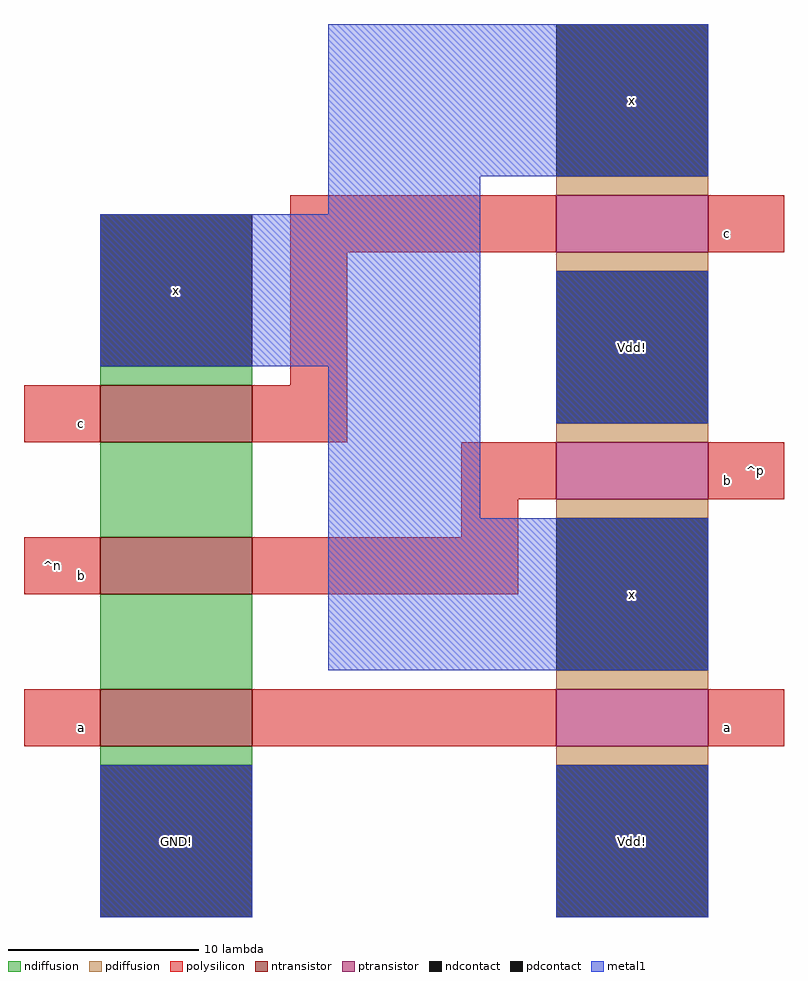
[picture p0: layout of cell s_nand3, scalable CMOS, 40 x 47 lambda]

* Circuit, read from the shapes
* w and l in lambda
.subckt s_nand3 GND! Vdd! a b c x
M1 n1 a GND! VSUBS nfet w=8 l=3
M2 n2 b n1 VSUBS nfet w=8 l=3
M3 x c n2 VSUBS nfet w=8 l=3
M4 x a Vdd! NWELL pfet w=8 l=3
M5 Vdd! b x NWELL pfet w=8 l=3
M6 x c Vdd! NWELL pfet w=8 l=3
.ends

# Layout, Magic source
magic
tech scmos
<< ndiffusion >>
rect -76 505 -68 506
rect -76 497 -68 502
rect -76 489 -68 494
rect -76 485 -68 486
<< pdiffusion >>
rect -52 515 -44 516
rect -52 511 -44 512
rect -52 502 -44 503
rect -52 498 -44 499
rect -52 489 -44 490
rect -52 485 -44 486
<< ntransistor >>
rect -76 502 -68 505
rect -76 494 -68 497
rect -76 486 -68 489
<< ptransistor >>
rect -52 512 -44 515
rect -52 499 -44 502
rect -52 486 -44 489
<< polysilicon >>
rect -66 512 -52 515
rect -44 512 -40 515
rect -66 505 -63 512
rect -80 502 -76 505
rect -68 502 -63 505
rect -57 499 -52 502
rect -44 499 -40 502
rect -57 497 -54 499
rect -80 494 -76 497
rect -68 494 -54 497
rect -80 486 -76 489
rect -68 486 -52 489
rect -44 486 -40 489
<< ndcontact >>
rect -76 506 -68 514
rect -76 477 -68 485
<< pdcontact >>
rect -52 516 -44 524
rect -52 503 -44 511
rect -52 490 -44 498
rect -52 477 -44 485
<< metal1 >>
rect -64 516 -44 524
rect -64 514 -56 516
rect -76 506 -56 514
rect -64 498 -56 506
rect -52 503 -44 511
rect -64 490 -44 498
rect -76 477 -68 485
rect -52 477 -44 485
<< labels >>
rlabel metal1 -48 494 -48 494 1 x
rlabel metal1 -48 507 -48 507 5 Vdd!
rlabel metal1 -48 481 -48 481 1 Vdd!
rlabel metal1 -72 481 -72 481 1 GND!
rlabel polysilicon -77 487 -77 487 3 a
rlabel polysilicon -77 495 -77 495 3 b
rlabel polysilicon -43 500 -43 500 1 b
rlabel polysilicon -43 487 -43 487 1 a
rlabel metal1 -72 510 -72 510 1 x
rlabel polysilicon -77 503 -77 503 3 c
rlabel metal1 -48 520 -48 520 5 x
rlabel polysilicon -43 513 -43 513 1 c
rlabel space -81 477 -76 514 7 ^n
rlabel space -44 477 -39 524 3 ^p
<< end >>
